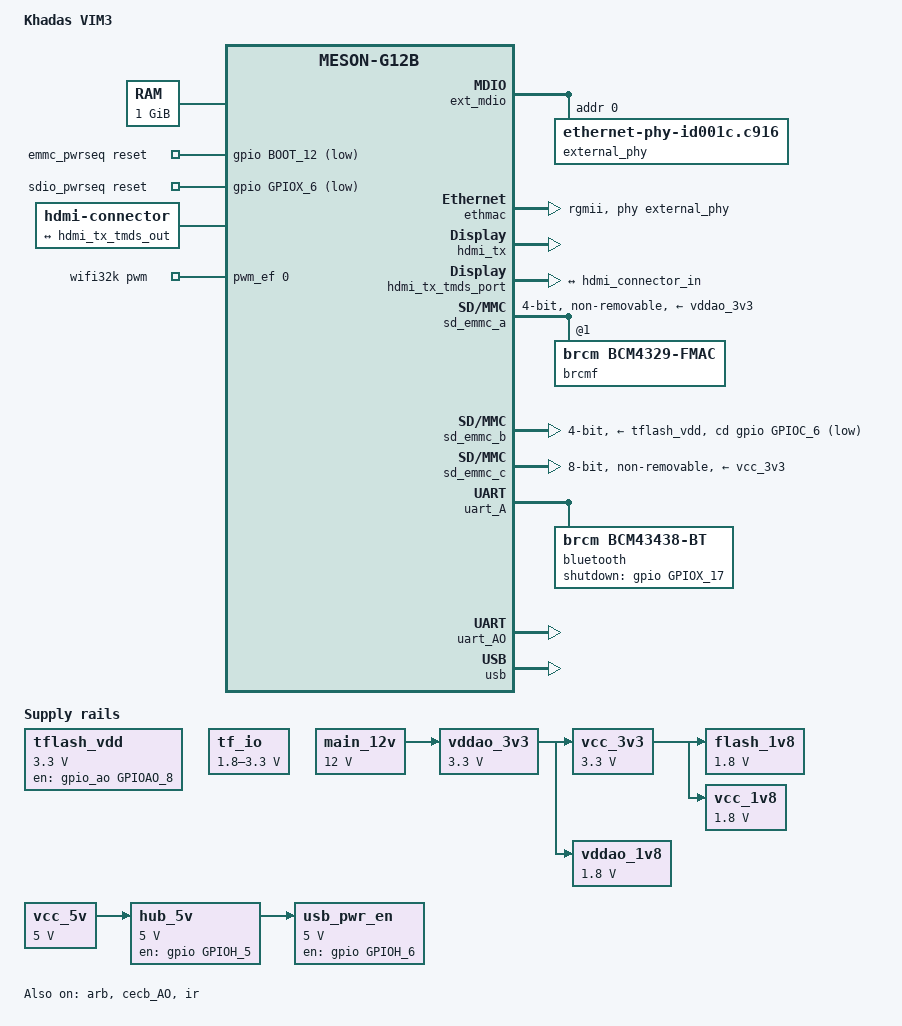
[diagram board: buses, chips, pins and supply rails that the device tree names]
// SPDX-License-Identifier: (GPL-2.0+ OR MIT)
/*
 * Copyright (c) 2019 BayLibre, SAS
 * Author: Neil Armstrong <narmstrong@baylibre.com>
 */

/dts-v1/;

#include "meson-g12b.dtsi"
#include <dt-bindings/input/input.h>
#include <dt-bindings/gpio/meson-g12a-gpio.h>

/ {
	compatible = "khadas,vim3", "amlogic,g12b";
	model = "Khadas VIM3";

	aliases {
		serial0 = &uart_AO;
		ethernet0 = &ethmac;
	};

	chosen {
		stdout-path = "serial0:115200n8";
	};

	memory@0 {
		device_type = "memory";
		reg = <0x0 0x0 0x0 0x40000000>;
	};

	emmc_pwrseq: emmc-pwrseq {
		compatible = "mmc-pwrseq-emmc";
		reset-gpios = <&gpio BOOT_12 GPIO_ACTIVE_LOW>;
	};

	sdio_pwrseq: sdio-pwrseq {
		compatible = "mmc-pwrseq-simple";
		reset-gpios = <&gpio GPIOX_6 GPIO_ACTIVE_LOW>;
		clocks = <&wifi32k>;
		clock-names = "ext_clock";
	};

	tflash_vdd: regulator-tflash_vdd {
		compatible = "regulator-fixed";

		regulator-name = "TFLASH_VDD";
		regulator-min-microvolt = <3300000>;
		regulator-max-microvolt = <3300000>;

		gpio = <&gpio_ao GPIOAO_8 GPIO_ACTIVE_HIGH>;
		enable-active-high;
	};

	tf_io: gpio-regulator-tf_io {
		compatible = "regulator-gpio";

		regulator-name = "TF_IO";
		regulator-min-microvolt = <1800000>;
		regulator-max-microvolt = <3300000>;

		gpios = <&gpio_ao GPIOAO_9 GPIO_ACTIVE_HIGH>;
		gpios-states = <0>;

		states = <3300000 0
			  1800000 1>;
	};

	flash_1v8: regulator-flash_1v8 {
		compatible = "regulator-fixed";
		regulator-name = "FLASH_1V8";
		regulator-min-microvolt = <1800000>;
		regulator-max-microvolt = <1800000>;
		vin-supply = <&vcc_3v3>;
		regulator-always-on;
	};

	main_12v: regulator-main_12v {
		compatible = "regulator-fixed";
		regulator-name = "12V";
		regulator-min-microvolt = <12000000>;
		regulator-max-microvolt = <12000000>;
		regulator-always-on;
	};

	vcc_5v: regulator-vcc_5v {
		compatible = "regulator-fixed";
		regulator-name = "5V";
		regulator-min-microvolt = <5000000>;
		regulator-max-microvolt = <5000000>;
		regulator-always-on;
	};

	vcc_1v8: regulator-vcc_1v8 {
		compatible = "regulator-fixed";
		regulator-name = "VCC_1V8";
		regulator-min-microvolt = <1800000>;
		regulator-max-microvolt = <1800000>;
		vin-supply = <&vcc_3v3>;
		regulator-always-on;
	};

	vcc_3v3: regulator-vcc_3v3 {
		compatible = "regulator-fixed";
		regulator-name = "VCC_3V3";
		regulator-min-microvolt = <3300000>;
		regulator-max-microvolt = <3300000>;
		vin-supply = <&vddao_3v3>;
		regulator-always-on;
		/* FIXME: actually controlled by VDDCPU_B_EN */
	};

	hub_5v: regulator-hub_5v {
		compatible = "regulator-fixed";
		regulator-name = "HUB_5V";
		regulator-min-microvolt = <5000000>;
		regulator-max-microvolt = <5000000>;
		vin-supply = <&vcc_5v>;

		gpio = <&gpio GPIOH_5 GPIO_ACTIVE_HIGH>;
		enable-active-high;
	};

	usb_pwr_en: regulator-usb_pwr_en {
		compatible = "regulator-fixed";
		regulator-name = "USB_PWR_EN";
		regulator-min-microvolt = <5000000>;
		regulator-max-microvolt = <5000000>;
		vin-supply = <&hub_5v>;

		gpio = <&gpio GPIOH_6 GPIO_ACTIVE_HIGH>;
		enable-active-high;
	};

	vddao_1v8: regulator-vddao_1v8 {
		compatible = "regulator-fixed";
		regulator-name = "VDDAO_1V8";
		regulator-min-microvolt = <1800000>;
		regulator-max-microvolt = <1800000>;
		vin-supply = <&vddao_3v3>;
		regulator-always-on;
	};

	vddao_3v3: regulator-vddao_3v3 {
		compatible = "regulator-fixed";
		regulator-name = "VDDAO_3V3";
		regulator-min-microvolt = <3300000>;
		regulator-max-microvolt = <3300000>;
		vin-supply = <&main_12v>;
		regulator-always-on;
	};

	hdmi-connector {
		compatible = "hdmi-connector";
		type = "a";

		port {
			hdmi_connector_in: endpoint {
				remote-endpoint = <&hdmi_tx_tmds_out>;
			};
		};
	};

	wifi32k: wifi32k {
		compatible = "pwm-clock";
		#clock-cells = <0>;
		clock-frequency = <32768>;
		pwms = <&pwm_ef 0 30518 0>; /* PWM_E at 32.768KHz */
	};
};

&arb {
	status = "okay";
};

&cec_AO {
	pinctrl-0 = <&cec_ao_a_h_pins>;
	pinctrl-names = "default";
	status = "disabled";
	hdmi-phandle = <&hdmi_tx>;
};

&cecb_AO {
	pinctrl-0 = <&cec_ao_b_h_pins>;
	pinctrl-names = "default";
	status = "okay";
	hdmi-phandle = <&hdmi_tx>;
};

&ext_mdio {
	external_phy: ethernet-phy@0 {
	      compatible = "ethernet-phy-id001c.c916", "ethernet-phy-ieee802.3-c22";
	      reg = <0>;
	      max-speed = <1000>;
	      eee-broken-1000t;
	};
};

&ethmac {
	pinctrl-0 = <&eth_rmii_pins>, <&eth_rgmii_pins>;
	pinctrl-names = "default";
	status = "okay";
	phy-mode = "rgmii";
	phy-handle = <&external_phy>;
	amlogic,tx-delay-ns = <2>;
};

&hdmi_tx {
	status = "okay";
	pinctrl-0 = <&hdmitx_hpd_pins>, <&hdmitx_ddc_pins>;
	pinctrl-names = "default";
	hdmi-supply = <&vcc_5v>;
};

&hdmi_tx_tmds_port {
	hdmi_tx_tmds_out: endpoint {
		remote-endpoint = <&hdmi_connector_in>;
	};
};

&ir {
	status = "okay";
	pinctrl-0 = <&remote_input_ao_pins>;
	pinctrl-names = "default";
	linux,rc-map-name = "rc-khadas";
};

/* SDIO */
&sd_emmc_a {
	status = "okay";
	pinctrl-0 = <&sdio_pins>;
	pinctrl-1 = <&sdio_clk_gate_pins>;
	pinctrl-names = "default", "clk-gate";
	#address-cells = <1>;
	#size-cells = <0>;

	bus-width = <4>;
	cap-sd-highspeed;
	max-frequency = <50000000>;

	non-removable;
	disable-wp;

	mmc-pwrseq = <&sdio_pwrseq>;

	vmmc-supply = <&vddao_3v3>;
	vqmmc-supply = <&vddao_1v8>;

	brcmf: wifi@1 {
		reg = <1>;
		compatible = "brcm,bcm4329-fmac";
	};
};

/* SD card */
&sd_emmc_b {
	status = "okay";
	pinctrl-0 = <&sdcard_c_pins>;
	pinctrl-1 = <&sdcard_clk_gate_c_pins>;
	pinctrl-names = "default", "clk-gate";

	bus-width = <4>;
	cap-sd-highspeed;
	max-frequency = <50000000>;
	disable-wp;

	cd-gpios = <&gpio GPIOC_6 GPIO_ACTIVE_LOW>;
	vmmc-supply = <&tflash_vdd>;
	vqmmc-supply = <&tf_io>;

};

/* eMMC */
&sd_emmc_c {
	status = "okay";
	pinctrl-0 = <&emmc_pins>, <&emmc_ds_pins>;
	pinctrl-1 = <&emmc_clk_gate_pins>;
	pinctrl-names = "default", "clk-gate";

	bus-width = <8>;
	cap-mmc-highspeed;
	max-frequency = <100000000>;
	non-removable;
	disable-wp;

	mmc-pwrseq = <&emmc_pwrseq>;
	vmmc-supply = <&vcc_3v3>;
	vqmmc-supply = <&flash_1v8>;
};

&uart_A {
	status = "okay";
	pinctrl-0 = <&uart_a_pins>, <&uart_a_cts_rts_pins>;
	pinctrl-names = "default";
	uart-has-rtscts;

	bluetooth {
		compatible = "brcm,bcm43438-bt";
		shutdown-gpios = <&gpio GPIOX_17 GPIO_ACTIVE_HIGH>;
		max-speed = <2000000>;
		clocks = <&wifi32k>;
		clock-names = "lpo";
	};
};

&uart_AO {
	status = "okay";
	pinctrl-0 = <&uart_ao_a_pins>;
	pinctrl-names = "default";
};

&usb {
	status = "okay";
};

&usb2_phy0 {
	phy-supply = <&usb_pwr_en>;
};

&usb2_phy1 {
	phy-supply = <&vcc_5v>;
};
